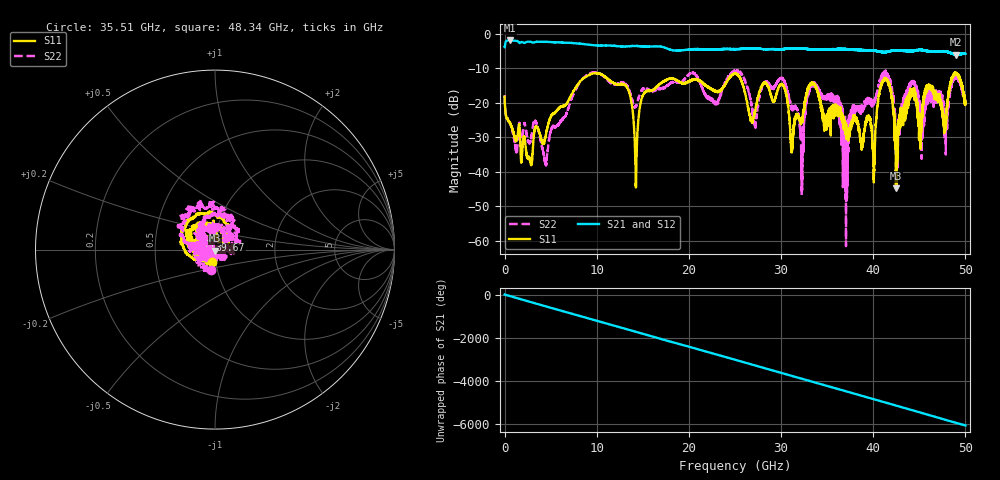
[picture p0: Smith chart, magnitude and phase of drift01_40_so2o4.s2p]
!Created with skrf (http://scikit-rf.org).
# Hz S RI R 50.0
!freq ReS11 ImS11 ReS21 ImS21 ReS12 ImS12 ReS22 ImS22
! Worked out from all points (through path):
!   10001 points, 300 kHz to 50 GHz, reference 50 ohm
!   highest |S21| = -2.00 dB at 625.3 MHz (marker M1); lowest = -6.1 dB at 48.98 GHz (marker M2)
!   group delay of S21, straight-line fit = 336 ps
!   lowest |S11| = -44.8 dB at 42.47 GHz (marker M3), VSWR 1.01, Z = 50 - j0.573 ohm
!   |S11| at or under -10 dB: start of sweep to end of sweep
!   |S22| runs from -61.6 to -10.5 dB; largest |S21 - S12| = 0.02
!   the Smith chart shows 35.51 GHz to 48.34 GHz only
!   S11 on the Smith chart (normalised r, x): 35.51 GHz: 0.96, -0.13; 39.67 GHz: 0.94, +0.10; 48.34 GHz: 0.72, +0.15
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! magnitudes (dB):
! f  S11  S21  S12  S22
! 300 kHz  -18.3  -3.9  -4.0  -17.9
! 625.3 MHz  -26.1  -2.0  -2.0  -26.1
! 4.435 GHz  -29.9  -2.4  -2.4  -37.3
! 8.335 GHz  -13.5  -3.0  -3.0  -13.5
! 13.16 GHz  -15.2  -3.7  -3.7  -14.7
! 14.25 GHz  -44.6  -3.6  -3.6  -21.0
! 16.67 GHz  -14.9  -3.7  -3.7  -15.9
! 25 GHz  -11.6  -4.5  -4.5  -10.9
! 27.15 GHz  -22.6  -4.3  -4.3  -25.8
! 30.19 GHz  -15.0  -4.5  -4.5  -13.3
! 32.25 GHz  -25.4  -4.3  -4.3  -37.6
! 33.34 GHz  -14.3  -4.7  -4.6  -14.4
! 35.51 GHz  -23.0  -4.6  -4.6  -18.7
! 37.03 GHz  -26.5  -4.5  -4.6  -41.3
! 39.67 GHz  -24.7  -4.9  -4.9  -20.1
! 41.67 GHz  -14.3  -5.1  -5.1  -12.3
! 42.47 GHz  -44.8  -4.8  -4.9  -32.7
! 44.17 GHz  -17.3  -5.0  -5.1  -14.1
! 45.31 GHz  -22.0  -4.7  -4.9  -26.3
! 48.34 GHz  -14.8  -5.6  -5.5  -17.4
! 48.98 GHz  -11.5  -6.1  -6.0  -12.8
! 50 GHz  -19.5  -5.8  -5.8  -19.6
